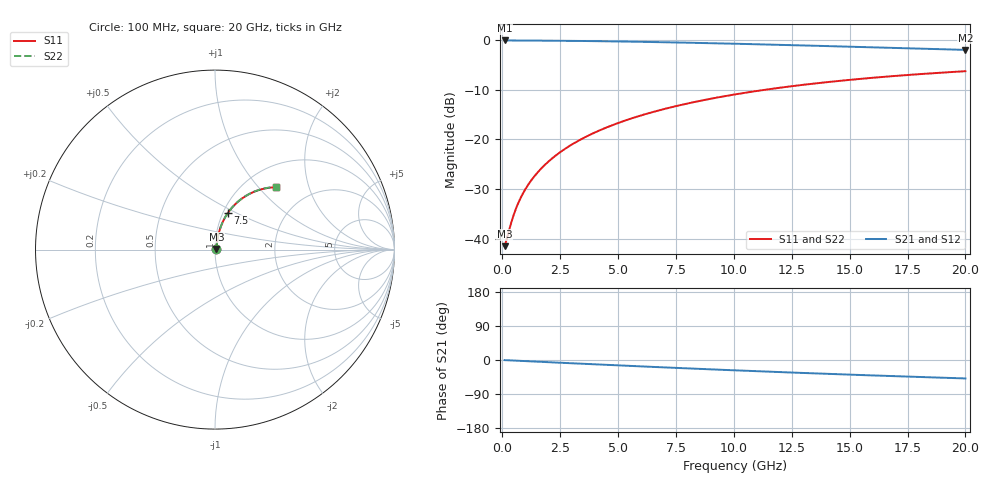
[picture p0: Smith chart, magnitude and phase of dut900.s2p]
! Touchstone file exported from HFSS 2024.1.0
!  File:  C:/UserFiles/LocalFiles/RDL_TSV_Batchsim/temp_RDL_bottom_900_1779940009.aedt
!  Generated:  11:49:28 AM May 28, 2026
!  Design:  RDL_bottom
!  Project:  temp_RDL_bottom_900_1779940009
!  Setup:  Setup1
!  Solution:  Sweep
! Variables:
!  dtsv = 10.80580581um
!  hbump = 3um
!  htsv = 94.52um
!  ldown = 668.35um
!  lrdl = 100um
!  p = 40
!  p1 = 43.31um
!  rhole = 1um
!  t = 450um
!  tdown = 2.13um
!  trdl = 3.915915916um
!  wdown = 14.45um
!  wrdl = 20um
# GHz S MA R 50.000000
! Terminal data exported
! Port[1] = RDL1_T1
! Port[2] = RDL1_T2
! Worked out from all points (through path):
!   200 points, 100 MHz to 20 GHz, reference 50 ohm
!   highest |S21| = -0.07 dB at 100 MHz (marker M1); lowest = -2.0 dB at 20 GHz (marker M2)
!   group delay of S21, straight-line fit = 6.76 ps
!   lowest |S11| = -41.5 dB at 100 MHz (marker M3), VSWR 1.02, Z = 50.8 + j0.317 ohm
!   |S11| at or under -10 dB: start of sweep to 11.35 GHz
!   |S22| runs from -41.5 to -6.3 dB; largest |S21 - S12| = 3.3e-15
!   S11 on the Smith chart (normalised r, x): 100 MHz: 1.02, +0.01; 7.5 GHz: 1.06, +0.45; 20 GHz: 1.37, +1.25
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0.1  0.008402 21.8  0.9922 -0.3  0.9922 -0.3  0.008402 21.8
! Gamma 0 0 0 0
! Port Impedance 50 0 50 0
0.4  0.01487 56.1  0.9918 -1.2  0.9918 -1.2  0.01487 56.1
0.6  0.02033 64.3  0.9913 -1.8  0.9913 -1.8  0.02033 64.3
0.7  0.02313 66.8  0.991 -2.1  0.991 -2.1  0.02313 66.8
0.9  0.02876 70.2  0.9905 -2.7  0.9905 -2.7  0.02876 70.2
1.2  0.03724 73.2  0.9896 -3.5  0.9896 -3.5  0.03724 73.2
1.4  0.04291 74.5  0.989 -4.1  0.989 -4.1  0.04291 74.5
1.7  0.05144 75.8  0.9881 -4.9  0.9881 -4.9  0.05144 75.8
2.2  0.06572 76.8  0.9862 -6.4  0.9862 -6.4  0.06572 76.8
2.8  0.08294 77.2  0.9836 -8.1  0.9836 -8.1  0.08294 77.2
3.5  0.1031 76.9  0.9799 -10.0  0.9799 -10.0  0.1031 77.0
4.2  0.1232 76.2  0.9756 -12.0  0.9756 -12.0  0.1232 76.3
5  0.1461 75.1  0.9698 -14.2  0.9698 -14.2  0.1461 75.2
5.9  0.1717 73.6  0.9625 -16.6  0.9625 -16.6  0.1717 73.7
6.8  0.197 72.0  0.9543 -19.0  0.9543 -19.0  0.197 72.0
7.5  0.2163 70.6  0.9474 -20.9  0.9474 -20.9  0.2164 70.7
8.7  0.2488 68.2  0.9348 -23.9  0.9348 -23.9  0.2489 68.3
10.1  0.2852 65.3  0.9189 -27.4  0.9189 -27.4  0.2853 65.3
11.7  0.3246 61.9  0.8998 -31.2  0.8998 -31.2  0.3248 62.0
13.4  0.3637 58.3  0.8787 -35.1  0.8787 -35.1  0.3639 58.4
16.7  0.4307 51.7  0.8374 -42.2  0.8374 -42.2  0.4311 51.8
20  0.4863 45.6  0.7974 -48.6  0.7974 -48.6  0.4867 45.7
